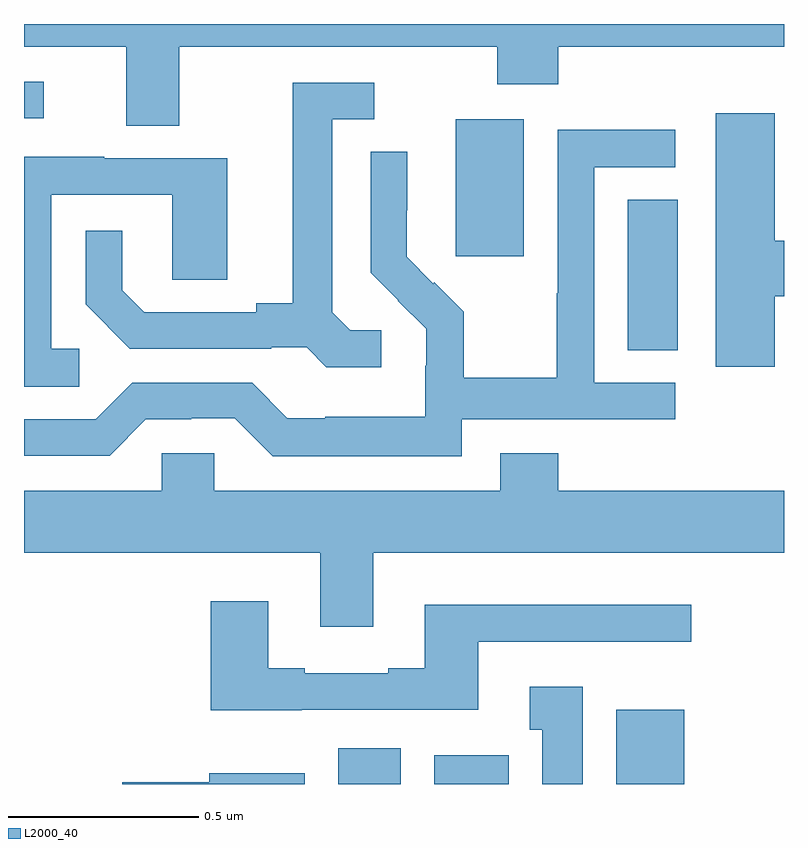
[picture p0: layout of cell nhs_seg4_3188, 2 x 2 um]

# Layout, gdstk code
import gdstk
lib = gdstk.Library(unit=1e-6, precision=1e-09)
def R(c, l, rs):  # rectangles x0, y0, x1, y1
    for r in rs: c.add(gdstk.rectangle(r[:2], r[2:], *l))
def P(c, l, *ps):  # polygons
    for p in ps: c.add(gdstk.Polygon(p, *l))
L2000_40 = (2000, 40)

nhs_seg4_3188 = lib.new_cell('nhs_seg4_3188')
R(nhs_seg4_3188, L2000_40, [(150.827,774.9,150.991,774.994), (151.079,774.9,151.276,774.976), (151.559,774.9,151.738,775.096), (151.589,776.041,151.72,776.438), (151.136,776.289,151.315,776.65), (150,776.652,150.052,776.748)])
P(nhs_seg4_3188, L2000_40, [(150.409,776.84),(151.246,776.84),(151.246,776.741),(151.406,776.741),(151.406,776.84),(152,776.84),(152,776.9),(150,776.9),(150,776.84),(150.269,776.84),(150.269,776.632),(150.409,776.632)],
  [(150.94,776.094),(150.858,776.094),(150.811,776.141),(150.811,776.649),(150.922,776.649),(150.922,776.745),(150.707,776.745),(150.707,776.165),(150.611,776.165),(150.611,776.142),(150.316,776.142),(150.259,776.199),(150.259,776.356),(150.162,776.356),(150.162,776.162),(150.278,776.046),(150.65,776.046),(150.65,776.049),(150.744,776.049),(150.796,775.997),(150.94,775.997)],
  [(151.975,776.183),(152,776.183),(152,776.33),(151.975,776.33),(151.975,776.665),(151.82,776.665),(151.82,775.998),(151.975,775.998)],
  [(151.152,775.86),(151.714,775.86),(151.714,775.956),(151.5,775.956),(151.5,776.523),(151.714,776.523),(151.714,776.622),(151.404,776.622),(151.404,776.192),(151.402,776.192),(151.402,775.969),(151.157,775.969),(151.157,776.143),(151.08,776.22),(151.077,776.217),(151.007,776.288),(151.007,776.41),(151.008,776.41),(151.008,776.564),(150.912,776.564),(150.912,776.246),(150.985,776.173),(150.984,776.172),(151.058,776.098),(151.058,776.001),(151.056,776.001),(151.056,775.867),(150.793,775.867),(150.793,775.863),(150.693,775.863),(150.6,775.956),(150.285,775.956),(150.189,775.86),(150,775.86),(150,775.764),(150.225,775.764),(150.321,775.86),(150.44,775.86),(150.44,775.863),(150.555,775.863),(150.655,775.763),(151.152,775.763)],
  [(150.145,776.046),(150.072,776.046),(150.072,776.451),(150.39,776.451),(150.39,776.227),(150.535,776.227),(150.535,776.547),(150.211,776.547),(150.211,776.551),(150,776.551),(150,775.945),(150.145,775.945)],
  [(150.919,775.508),(152,775.508),(152,775.672),(151.406,775.672),(151.406,775.771),(151.253,775.771),(151.253,775.672),(150.501,775.672),(150.501,775.77),(150.363,775.77),(150.363,775.672),(150,775.672),(150,775.508),(150.779,775.508),(150.779,775.314),(150.919,775.314)],
  [(150.731,775.095),(151.195,775.095),(151.195,775.275),(151.756,775.275),(151.756,775.372),(151.055,775.372),(151.055,775.204),(150.959,775.204),(150.959,775.191),(150.739,775.191),(150.739,775.204),(150.643,775.204),(150.643,775.381),(150.491,775.381),(150.491,775.094),(150.731,775.094)],
  [(151.471,775.156),(151.331,775.156),(151.331,775.043),(151.364,775.043),(151.364,774.9),(151.471,774.9)],
  [(150.739,774.928),(150.488,774.928),(150.488,774.905),(150.258,774.905),(150.258,774.9),(150.739,774.9)])

lib.write_gds('nhs_seg4_3188.gds')
